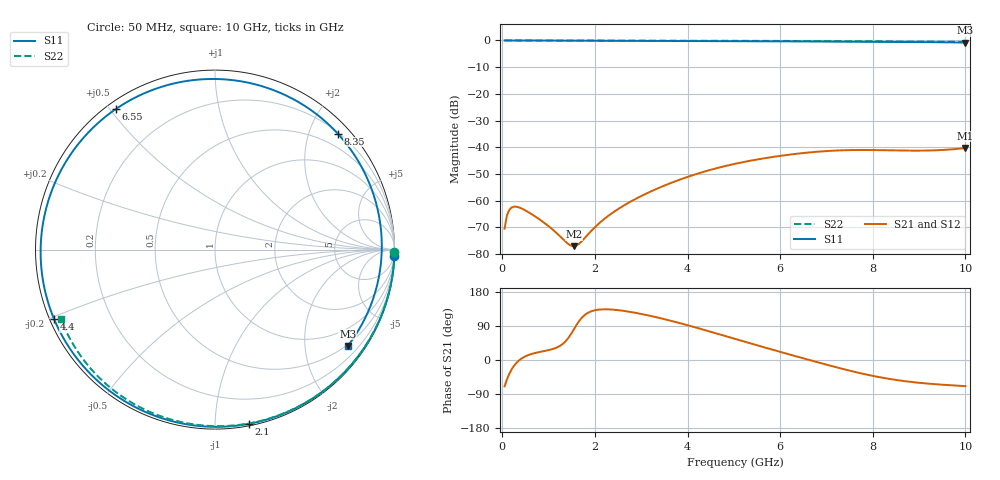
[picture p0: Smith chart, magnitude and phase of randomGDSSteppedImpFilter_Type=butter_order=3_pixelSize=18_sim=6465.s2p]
! freq	dB(S11)	phase(S11)	dB(S12)	phase(S12)
!  dB(S21)	phase(S21)	dB(S22)	phase(S22)
!S-par simulation data
#  GHz  S  DB  R 50
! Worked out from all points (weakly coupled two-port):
!   200 points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, 50 MHz to 10 GHz, reference 50 ohm
!   highest |S21| = -40.26 dB at 10 GHz (marker M1); lowest = -77.0 dB at 1.55 GHz (marker M2)
!   lowest |S11| = -0.8 dB at 10 GHz (marker M3), VSWR 22.21, Z = 23.2 - j151 ohm
!   |S11| at or under -10 dB: nowhere
!   |S22| runs from -0.5 to 0.0 dB; largest |S21 - S12| = 0
!   S11 on the Smith chart (normalised r, x): 50 MHz: 0, -59; 2.1 GHz: 0.01, -1.22; 4.4 GHz: 0.01, -0.21; 6.55 GHz: 0.03, +0.52; 8.35 GHz: 0.22, +2.50; 10 GHz: 0.46, -3.02
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0.05  -0.00 -2.0  -70.44 -69.6  -70.44 -69.6  -0.00 -0.9
0.1  -0.00 -3.9  -65.49 -51.6  -65.49 -51.6  -0.00 -1.8
0.15  -0.00 -5.9  -63.43 -36.8  -63.43 -36.8  -0.00 -2.7
0.35  -0.01 -13.7  -62.43 -2.3  -62.43 -2.3  -0.00 -6.3
0.9  -0.04 -34.8  -68.17 23.4  -68.17 23.4  -0.02 -16.0
1.55  -0.07 -59.0  -76.99 81.8  -76.99 81.8  -0.03 -27.4
1.75  -0.08 -66.3  -74.51 115.6  -74.51 115.6  -0.04 -30.9
2.1  -0.10 -78.9  -68.30 133.1  -68.30 133.1  -0.05 -36.9
2.75  -0.12 -101.5  -60.51 127.2  -60.51 127.2  -0.06 -47.8
3.4  -0.15 -123.4  -55.03 110.8  -55.03 110.8  -0.08 -58.6
4.4  -0.21 -156.7  -48.89 78.0  -48.89 78.0  -0.11 -74.5
5.05  -0.25 -178.9  -46.07 54.8  -46.07 54.8  -0.13 -84.5
5.8  -0.31 154.2  -43.70 28.4  -43.70 28.4  -0.16 -95.7
6.55  -0.37 125.0  -42.04 2.7  -42.04 2.7  -0.20 -106.6
6.7  -0.38 118.8  -41.79 -2.3  -41.79 -2.3  -0.21 -108.7
7.15  -0.42 99.6  -41.24 -17.2  -41.24 -17.2  -0.24 -115.1
7.55  -0.46 81.5  -41.02 -29.6  -41.02 -29.6  -0.27 -120.8
8.35  -0.53 43.4  -41.12 -49.8  -41.12 -49.8  -0.34 -132.0
8.75  -0.57 23.8  -41.23 -56.8  -41.23 -56.8  -0.38 -137.7
9.15  -0.63 4.2  -41.21 -61.9  -41.21 -61.9  -0.42 -143.3
9.55  -0.69 -15.0  -40.94 -65.6  -40.94 -65.6  -0.47 -149.1
10  -0.78 -36.0  -40.26 -69.0  -40.26 -69.0  -0.52 -155.7
